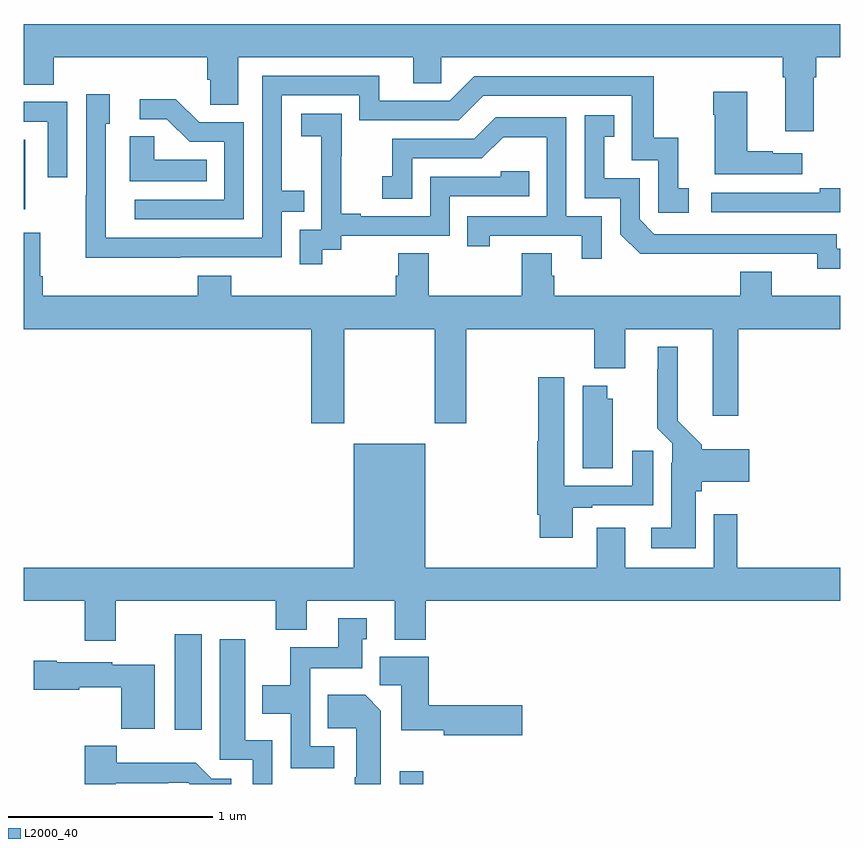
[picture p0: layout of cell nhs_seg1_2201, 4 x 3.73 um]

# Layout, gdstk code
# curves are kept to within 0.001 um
import gdstk
lib = gdstk.Library(unit=1e-6, precision=1e-09)
def R(c, l, rs):  # rectangles x0, y0, x1, y1
    for r in rs: c.add(gdstk.rectangle(r[:2], r[2:], *l))
def P(c, l, *ps):  # polygons
    for p in ps: c.add(gdstk.Polygon(p, *l))
L2000_40 = (2000, 40)

nhs_seg1_2201 = lib.new_cell('nhs_seg1_2201')
R(nhs_seg1_2201, L2000_40, [(232.842,520.199,232.958,520.261), (231.74,520.464,231.871,520.933), (231,523.017,231.007,523.357)])
P(nhs_seg1_2201, L2000_40, [(234.871,523.664),(234.884,523.664),(234.884,523.76),(235,523.76),(235,523.924),(231,523.924),(231,523.627),(231.146,523.627),(231.146,523.76),(231.899,523.76),(231.899,523.651),(231.912,523.651),(231.912,523.528),(232.051,523.528),(232.051,523.76),(232.907,523.76),(232.907,523.633),(233.046,523.633),(233.046,523.76),(234.719,523.76),(234.719,523.664),(234.731,523.664),(234.731,523.398),(234.871,523.398)],
  [(231.767,522.78),(232.263,522.78),(232.263,523.005),(232.373,523.005),(232.373,523.106),(232.263,523.106),(232.263,523.575),(232.644,523.575),(232.644,523.452),(233.13,523.452),(233.25,523.572),(233.979,523.572),(233.979,523.257),(234.108,523.257),(234.108,522.999),(234.259,522.999),(234.259,523.119),(234.206,523.119),(234.206,523.366),(234.088,523.366),(234.088,523.668),(233.208,523.668),(233.088,523.548),(232.741,523.548),(232.741,523.671),(232.167,523.671),(232.167,522.876),(231.402,522.876),(231.402,523.434),(231.421,523.434),(231.421,523.579),(231.306,523.579),(231.306,523.085),(231.304,523.085),(231.304,522.779)],
  [(234.814,523.291),(234.671,523.291),(234.671,523.301),(234.544,523.301),(234.544,523.591),(234.379,523.591),(234.379,523.478),(234.386,523.478),(234.386,523.187),(234.814,523.187)],
  [(232.077,523.443),(231.858,523.443),(231.745,523.556),(231.567,523.556),(231.567,523.458),(231.701,523.458),(231.812,523.347),(231.981,523.347),(231.981,523.062),(231.543,523.062),(231.543,522.966),(232.077,522.966)],
  [(231.213,523.542),(231,523.542),(231,523.446),(231.117,523.446),(231.117,523.173),(231.213,523.173)],
  [(232.462,522.817),(232.554,522.817),(232.554,522.885),(233.088,522.885),(233.088,523.08),(233.477,523.08),(233.477,523.203),(233.337,523.203),(233.337,523.176),(232.992,523.176),(232.992,522.981),(232.651,522.981),(232.651,522.994),(232.556,522.994),(232.556,523.277),(232.557,523.277),(232.557,523.483),(232.359,523.483),(232.359,523.373),(232.457,523.373),(232.457,523.145),(232.458,523.145),(232.458,522.915),(232.353,522.915),(232.353,522.746),(232.462,522.746)],
  [(235,522.822),(234.984,522.822),(234.984,522.894),(234.09,522.894),(234.018,522.966),(234.018,523.167),(233.845,523.167),(233.845,523.371),(233.894,523.371),(233.894,523.477),(233.748,523.477),(233.748,523.071),(233.922,523.071),(233.922,522.894),(234.02,522.797),(234.888,522.798),(234.888,522.725),(235,522.725)],
  [(233.832,522.981),(233.658,522.981),(233.658,523.467),(233.312,523.467),(233.207,523.362),(232.804,523.362),(232.804,523.177),(232.755,523.177),(232.755,523.068),(232.902,523.068),(232.902,523.266),(233.244,523.266),(233.348,523.37),(233.562,523.37),(233.562,522.981),(233.173,522.981),(233.173,522.834),(233.284,522.834),(233.284,522.885),(233.735,522.885),(233.735,522.774),(233.832,522.774)],
  [(231.896,523.258),(231.639,523.258),(231.639,523.373),(231.518,523.373),(231.518,523.154),(231.896,523.154)],
  [(235,523.118),(234.901,523.118),(234.901,523.098),(234.369,523.098),(234.369,523.002),(235,523.002)],
  [(232.569,522.428),(233.014,522.428),(233.014,521.967),(233.169,521.967),(233.169,522.428),(233.795,522.428),(233.795,522.236),(233.947,522.236),(233.947,522.428),(234.377,522.428),(234.377,522.003),(234.5,522.003),(234.5,522.428),(235,522.428),(235,522.592),(234.664,522.592),(234.664,522.709),(234.512,522.709),(234.512,522.592),(233.6,522.592),(233.6,522.69),(233.587,522.69),(233.587,522.8),(233.44,522.8),(233.44,522.592),(232.983,522.592),(232.983,522.8),(232.835,522.8),(232.835,522.69),(232.823,522.69),(232.823,522.592),(232.016,522.592),(232.016,522.691),(231.851,522.691),(231.851,522.592),(231.092,522.592),(231.092,522.688),(231.079,522.688),(231.079,522.901),(231,522.901),(231,522.428),(232.409,522.428),(232.409,521.967),(232.569,521.967)],
  [(234.292,521.634),(234.323,521.634),(234.323,521.681),(234.556,521.681),(234.556,521.839),(234.323,521.839),(234.323,521.862),(234.205,521.98),(234.205,522.343),(234.107,522.343),(234.107,522.233),(234.103,522.233),(234.103,521.942),(234.177,521.868),(234.177,521.774),(234.173,521.774),(234.173,521.455),(234.075,521.455),(234.075,521.354),(234.292,521.354)],
  [(233.689,521.553),(233.785,521.553),(233.785,521.565),(234.085,521.565),(234.085,521.833),(233.981,521.833),(233.981,521.661),(233.647,521.661),(233.647,522.193),(233.521,522.193),(233.521,521.88),(233.516,521.88),(233.516,521.518),(233.528,521.518),(233.528,521.406),(233.689,521.406)],
  [(233.887,522.087),(233.86,522.087),(233.86,522.151),(233.738,522.151),(233.738,521.746),(233.887,521.746)],
  [(231.451,521.096),(232.235,521.096),(232.235,520.955),(232.387,520.955),(232.387,521.096),(232.817,521.096),(232.817,520.907),(232.97,520.907),(232.97,521.096),(235,521.096),(235,521.26),(234.497,521.26),(234.497,521.52),(234.381,521.52),(234.381,521.26),(233.947,521.26),(233.947,521.455),(233.807,521.455),(233.807,521.26),(232.966,521.26),(232.966,521.866),(232.616,521.866),(232.616,521.26),(231,521.26),(231,521.096),(231.299,521.096),(231.299,520.902),(231.451,520.902)],
  [(232.522,520.383),(232.404,520.383),(232.404,520.766),(232.657,520.766),(232.657,520.908),(232.681,520.908),(232.681,521.011),(232.541,521.011),(232.541,520.87),(232.306,520.87),(232.306,520.684),(232.169,520.684),(232.169,520.544),(232.308,520.544),(232.308,520.275),(232.522,520.275)],
  [(232.218,520.414),(232.084,520.414),(232.084,520.909),(231.959,520.909),(231.959,520.317),(232.122,520.317),(232.122,520.199),(232.218,520.199)],
  [(233.443,520.586),(232.985,520.586),(232.985,520.822),(232.745,520.822),(232.745,520.684),(232.85,520.684),(232.85,520.463),(233.058,520.463),(233.058,520.439),(233.443,520.439)],
  [(231.64,520.783),(231.432,520.783),(231.432,520.795),(231.16,520.795),(231.16,520.803),(231.048,520.803),(231.048,520.661),(231.27,520.661),(231.27,520.673),(231.478,520.673),(231.478,520.469),(231.64,520.469)],
  [(232.75,520.558),(232.672,520.636),(232.489,520.636),(232.489,520.472),(232.628,520.472),(232.628,520.231),(232.621,520.231),(232.621,520.199),(232.75,520.199)],
  [(231.451,520.203),(231.707,520.203),(231.707,520.206),(231.806,520.206),(231.813,520.199),(232.015,520.199),(232.015,520.224),(231.921,520.224),(231.843,520.303),(231.454,520.303),(231.454,520.387),(231.299,520.387),(231.299,520.199),(231.451,520.199)])

lib.write_gds('nhs_seg1_2201.gds')
